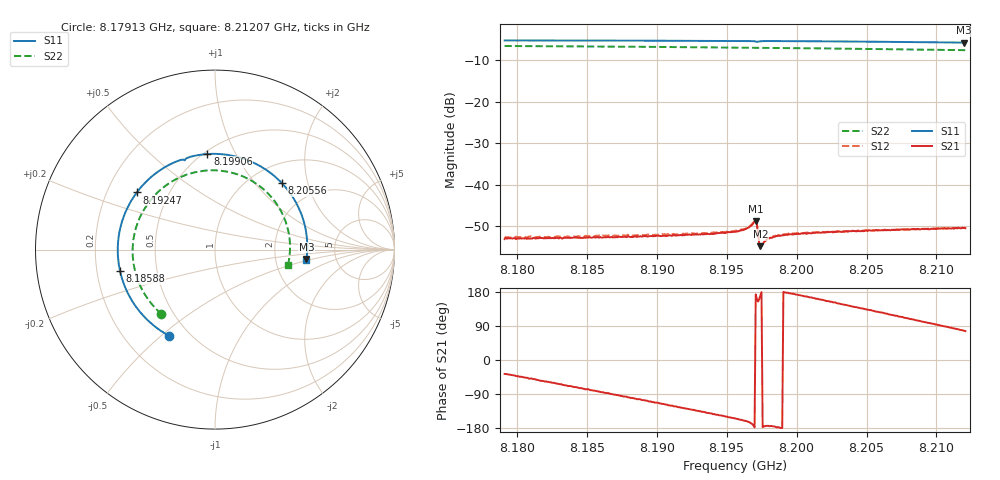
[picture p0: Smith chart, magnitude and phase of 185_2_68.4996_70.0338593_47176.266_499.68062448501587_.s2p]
#  HZ  S  RI  R  50.00
! Rohde & Schwarz Vector Network Analyzer
! Rohde-Schwarz,ZNB20-2Port,1311601062101988,3.16
! Created: UTC 3/20/2024, 4:56:52 PM
! freq[Hz]  re:S11  im:S11  re:S21  im:S21  re:S12  im:S12  re:S22  im:S22
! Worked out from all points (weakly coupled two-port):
!   401 points, 8.17913 GHz to 8.21207 GHz, reference 50 ohm
!   highest |S21| = -48.78 dB at 8.19708 GHz (marker M1); lowest = -54.8 dB at 8.19741 GHz (marker M2)
!   lowest |S11| = -5.8 dB at 8.21198 GHz (marker M3), VSWR 3.10, Z = 152 - j21.2 ohm
!   |S11| at or under -10 dB: nowhere
!   |S22| runs from -7.6 to -6.6 dB; largest |S21 - S12| = 0.00018
!   S11 on the Smith chart (normalised r, x): 8.17913 GHz: 0.39, -0.53; 8.18588 GHz: 0.30, -0.10; 8.19247 GHz: 0.33, +0.29; 8.19906 GHz: 0.52, +0.78; 8.20556 GHz: 1.37, +1.40; 8.21207 GHz: 3.02, -0.47
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8.179132e9  -0.2544 -0.4809  0.00177 -0.00132  0.00188 -0.0014  -0.2981 -0.3591
8.181602e9  -0.3902 -0.3783  0.00135 -0.00183  0.00137 -0.00192  -0.388 -0.2545
8.184649e9  -0.504 -0.2014  0.000615 -0.0022  0.000598 -0.00229  -0.4503 -0.098
8.185884e9  -0.5292 -0.1192  0.000269 -0.00228  0.000215 -0.00243  -0.4586 -0.03
8.188024e9  -0.5409 0.0295  -0.000352 -0.00233  -0.000407 -0.00238  -0.4488 0.088
8.190165e9  -0.5116 0.1758  -0.000977 -0.00221  -0.00109 -0.00227  -0.409 0.1995
8.19247e9  -0.4358 0.3183  -0.00162 -0.00186  -0.00175 -0.00191  -0.3351 0.3035
8.195599e9  -0.2718 0.4636  -0.00243 -0.00118  -0.00254 -0.00112  -0.1934 0.4037
8.19634e9  -0.2244 0.4872  -0.00274 -0.000964  -0.00279 -0.000871  -0.1547 0.4188
8.196917e9  -0.183 0.5007  -0.0034 -0.000439  -0.00349 -0.000318  -0.1235 0.428
8.197081e9  -0.1706 0.4994  -0.00361 0.000436  -0.00368 0.0006  -0.1146 0.4301
8.197411e9  -0.1601 0.5076  -0.00179 0.000299  -0.0018 0.000342  -0.0967 0.434
8.197493e9  -0.1542 0.5107  -0.00182 2.7e-05  -0.00187 0.000128  -0.092 0.4348
8.198069e9  -0.1126 0.523  -0.00226 -0.000204  -0.00225 -0.000138  -0.0599 0.4395
8.199057e9  -0.0427 0.5324  -0.00245 7.81e-06  -0.00251 0.000133  -0.00399 0.4417
8.201116e9  0.1024 0.5219  -0.0025 0.000694  -0.00252 0.00084  0.1112 0.4235
8.203339e9  0.249 0.4667  -0.00226 0.0015  -0.00222 0.00162  0.2264 0.3698
8.205562e9  0.3728 0.37  -0.00175 0.00216  -0.00171 0.00224  0.3219 0.2832
8.206632e9  0.421 0.3113  -0.00143 0.00245  -0.00136 0.0025  0.3579 0.2317
8.209349e9  0.5001 0.1358  -0.000429 0.00289  -0.000337 0.00293  0.4128 0.0805
8.211984e9  0.5098 -0.0515  0.000665 0.00293  0.000721 0.00292  0.4081 -0.0787
8.212067e9  0.5092 -0.0574  0.00071 0.00289  0.000778 0.00296  0.4071 -0.0837
